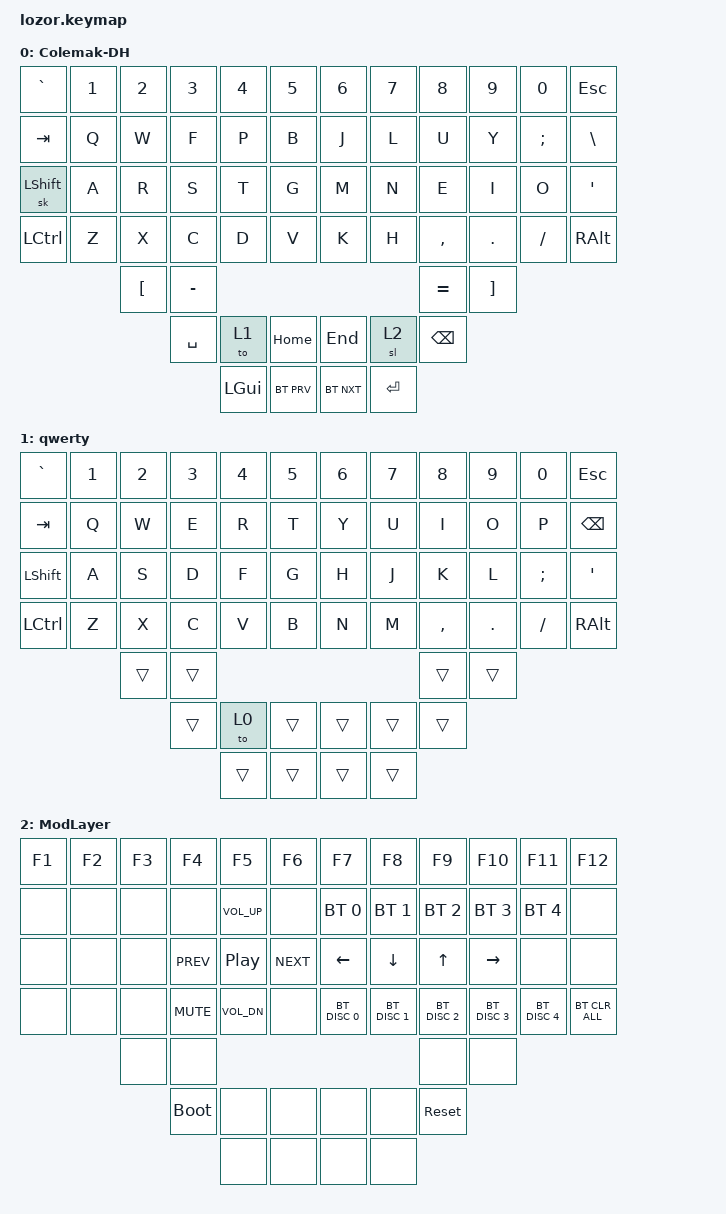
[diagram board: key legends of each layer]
#include <behaviors.dtsi>
#include <dt-bindings/zmk/bt.h>
#include <dt-bindings/zmk/keys.h>

#define DEFAULT 0
#define RAISE   1
#define LOWER   2

/ {
    keymap {
        compatible = "zmk,keymap";

        Colemak-DH {
            bindings = <
&kp GRAVE       &kp N1  &kp N2    &kp N3     &kp N4    &kp N5        &kp N6      &kp N7     &kp N8         &kp N9             &kp N0         &kp ESCAPE
&kp TAB         &kp Q   &kp W     &kp F      &kp P     &kp B         &kp J       &kp L      &kp U          &kp Y              &kp SEMICOLON  &kp BSLH
&sk LEFT_SHIFT  &kp A   &kp R     &kp S      &kp T     &kp G         &kp M       &kp N      &kp E          &kp I              &kp O          &kp SQT
&kp LCTRL       &kp Z   &kp X     &kp C      &kp D     &kp V         &kp K       &kp H      &kp COMMA      &kp DOT            &kp FSLH       &kp RALT
                        &kp LBKT  &kp MINUS                                                 &kp EQUAL      &kp RIGHT_BRACKET
                                  &kp SPACE  &to 1     &kp HOME      &kp END     &sl 2      &kp BACKSPACE
                                             &kp LGUI  &bt BT_PRV    &bt BT_NXT  &kp ENTER
            >;
        };

        // =============================================================

        qwerty {
            bindings = <
&kp GRAVE  &kp N1  &kp N2  &kp N3  &kp N4  &kp N5    &kp N6  &kp N7  &kp N8     &kp N9   &kp N0    &kp ESC
&kp TAB    &kp Q   &kp W   &kp E   &kp R   &kp T     &kp Y   &kp U   &kp I      &kp O    &kp P     &kp BACKSPACE
&kp LSHFT  &kp A   &kp S   &kp D   &kp F   &kp G     &kp H   &kp J   &kp K      &kp L    &kp SEMI  &kp APOS
&kp LCTRL  &kp Z   &kp X   &kp C   &kp V   &kp B     &kp N   &kp M   &kp COMMA  &kp DOT  &kp FSLH  &kp RALT
                   &trans  &trans                                    &trans     &trans
                           &trans  &to 0   &trans    &trans  &trans  &trans
                                   &trans  &trans    &trans  &trans
            >;
        };

        // =============================================================

        ModLayer {
            bindings = <
&kp F1  &kp F2  &kp F3  &kp F4       &kp F5            &kp F6        &kp F7         &kp F8         &kp F9         &kp F10        &kp F11        &kp F12
&none   &none   &none   &none        &kp C_VOL_UP      &none         &bt BT_SEL 0   &bt BT_SEL 1   &bt BT_SEL 2   &bt BT_SEL 3   &bt BT_SEL 4   &none
&none   &none   &none   &kp C_PREV   &kp C_PLAY_PAUSE  &kp C_NEXT    &kp LEFT       &kp DOWN       &kp UP         &kp RIGHT      &none          &none
&none   &none   &none   &kp C_MUTE   &kp C_VOL_DN      &none         &bt BT_DISC 0  &bt BT_DISC 1  &bt BT_DISC 2  &bt BT_DISC 3  &bt BT_DISC 4  &bt BT_CLR_ALL
                &none   &none                                                                      &none          &none
                        &bootloader  &none             &none         &none          &none          &sys_reset
                                     &none             &none         &none          &none
            >;
        };

        // =============================================================
    };
};
